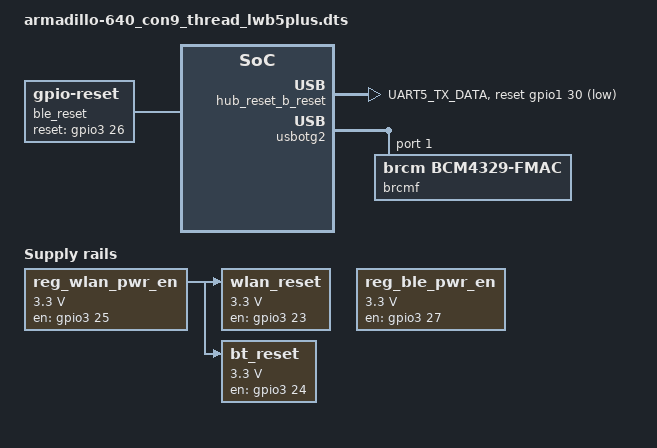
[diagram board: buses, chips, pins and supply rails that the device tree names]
// SPDX-License-Identifier: (GPL-2.0 OR MIT)
/*
 * Copyright (C) 2022 Atmark Techno, Inc. All Rights Reserved.
 */

/dts-v1/;
/plugin/;

#include <dt-bindings/gpio/gpio.h>
#include "imx6ull-pinfunc.h"
#include "imx6ull-pinfunc-snvs.h"
#include <dt-bindings/interrupt-controller/irq.h>

&uart5 {
	status = "disabled";
};

&{/} {
	// chosen {
	//	stdout-path = &uart3;
	// };

	hub_reset_b_reset: usb2422-reset {
		pinctrl-names = "default";
		pinctrl-0 = <&pinctrl_hub_reset_b>;
		compatible = "gpio-reset";
		reset-gpios = <&gpio1 30 GPIO_ACTIVE_LOW>;

		reset-delay-us = <1>;

		reset-on-init;
		#reset-cells = <0>;
	};

	ble_reset: nrf52-reset {
		compatible = "gpio-reset";
		pinctrl-0 = <&pinctrl_ble_reset>;
		reset-gpios = <&gpio3 26 GPIO_ACTIVE_HIGH>;

		reset-delay-us = <1>;

		reset-on-init;
		#reset-cells = <0>;
	};

	reg_wlan_pwr_en: regulator-lwb5p {
		pinctrl-names = "default";
		pinctrl-0 = <&pinctrl_wlan_pwr_en>;
		compatible = "regulator-fixed";
		regulator-name = "VDD_LWB5P";
		regulator-min-microvolt = <3300000>;
		regulator-max-microvolt = <3300000>;
		gpio = <&gpio3 25 GPIO_ACTIVE_HIGH>;
		off-on-delay-us = <500000>; // FIXME

		enable-active-high;
		regulator-boot-on;
	};

	wlan_reset: lwb5p-wlan-reset {
		pinctrl-names = "default";
		pinctrl-0 = <&pinctrl_wlan_reset>;
		compatible = "regulator-fixed";
		regulator-name = "LWB5P_WL_REG_ON";
		regulator-min-microvolt = <3300000>;
		regulator-max-microvolt = <3300000>;
		gpio = <&gpio3 23 GPIO_ACTIVE_HIGH>;
		startup-delay-us = <150000>;
		off-on-delay-us = <10000>;
		vin-supply = <&reg_wlan_pwr_en>;

		enable-active-high;
		regulator-boot-on;
	};

	bt_reset: lwb5p-bt-reset {
		pinctrl-names = "default";
		pinctrl-0 = <&pinctrl_bt_reset>;
		compatible = "regulator-fixed";
		regulator-name = "LWB5P_BT_REG_ON";
		regulator-min-microvolt = <3300000>;
		regulator-max-microvolt = <3300000>;
		gpio = <&gpio3 24 GPIO_ACTIVE_HIGH>;
		startup-delay-us = <150000>;
		off-on-delay-us = <10000>;
		vin-supply = <&reg_wlan_pwr_en>;

		enable-active-high;
		regulator-boot-on;
	};

	reg_ble_pwr_en: regulator-nrf52 {
		pinctrl-names = "default";
		pinctrl-0 = <&pinctrl_ble_pwr_en>;
		compatible = "regulator-fixed";
		regulator-name = "VDD_NRF52";
		regulator-min-microvolt = <3300000>;
		regulator-max-microvolt = <3300000>;
		gpio = <&gpio3 27 GPIO_ACTIVE_HIGH>;
		enable-active-high;
		regulator-boot-on;
	};
};

&iomuxc {
	pinctrl_expansion_interfacehog: expansion_interfacehoggrp {
		fsl,pins = <
			MX6UL_PAD_UART2_RTS_B__GPIO1_IO23	0x40000008	/* SWDCLK */
			MX6UL_PAD_UART5_RX_DATA__GPIO1_IO31	0x40010008	/* SWDIO */
		>;
	};

	pinctrl_wlan_reset: wlanrstgrp {
		fsl,pins = <
			MX6UL_PAD_LCD_DATA18__GPIO3_IO23	0x40000000	/* WLAN_RST */
		>;
	};

	pinctrl_bt_reset: btrstgrp {
		fsl,pins = <
			MX6UL_PAD_LCD_DATA19__GPIO3_IO24	0x40000000	/* BT_RST */
		>;
	};

	pinctrl_wlan_pwr_en: wlanpwrengrp {
		fsl,pins = <
			MX6UL_PAD_LCD_DATA20__GPIO3_IO25	0x40000008	/* WLAN_BT_PWREN */
		>;
	};

	pinctrl_hub_reset_b: hubresetbgrp {
		fsl,pins = <
			MX6UL_PAD_UART5_TX_DATA__GPIO1_IO30	0x00000008	/* HUB_RESET_B */
		>;
	};

	pinctrl_ble_reset: bleresetgrp {
		fsl,pins = <
			MX6UL_PAD_LCD_DATA21__GPIO3_IO26	0x00000008	/* BLE_RESET */
		>;
	};

	pinctrl_ble_pwr_en: blepwrengrp {
		fsl,pins = <
			MX6UL_PAD_LCD_DATA22__GPIO3_IO27	0x00000008	/* BLE_PWR_EN */
		>;
	};
};

&usbotg2 {
	usb1 {
		reg = <1>;
		usb11 {
			reg = <1>;
			brcmf: wifi@1 {
				reg = <1>;
				compatible = "brcm,bcm4329-fmac";
				brcm,ccode-map = "JP-JP-0";
			};
		};
	};
};
